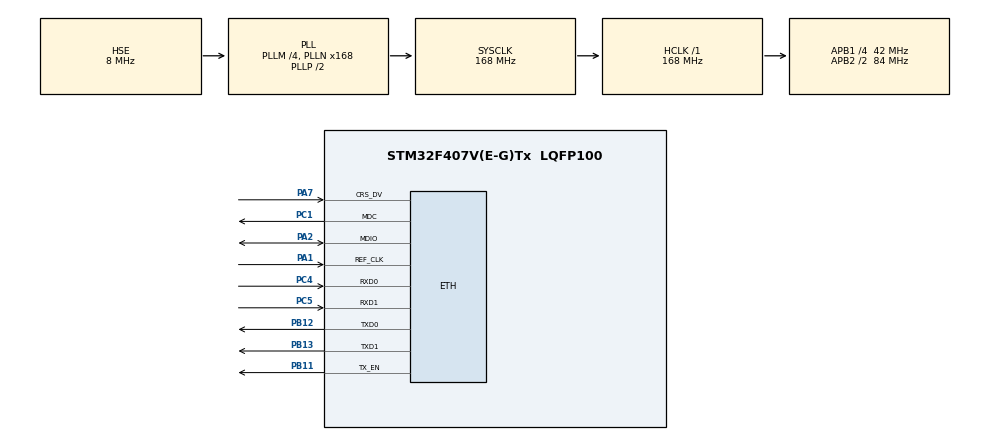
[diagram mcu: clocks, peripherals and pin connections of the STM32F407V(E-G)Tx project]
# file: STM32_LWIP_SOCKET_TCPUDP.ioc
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ETH.MediaInterface=ETH_MEDIA_INTERFACE_RMII
FREERTOS.Tasks01=defaultTask,1,1024,StartDefaultTask,Default,NULL,Dynamic,NULL,NULL
LWIP.IP_ADDRESS=192.168.000.010
LWIP.LWIP_DHCP=0
LWIP.MEM_SIZE=16384
LWIP.NETMASK_ADDRESS=255.255.255.000
LWIP.Version=v2.1.2_Cube
Mcu.Family=STM32F4
Mcu.Name=STM32F407V(E-G)Tx
Mcu.Package=LQFP100
NVIC.ETH_IRQn=true\:5\:0\:false\:false\:true\:true\:false\:true
NVIC.PriorityGroup=NVIC_PRIORITYGROUP_4
NVIC.TIM1_UP_TIM10_IRQn=true\:0\:0\:false\:false\:true\:false\:false\:true
NVIC.TimeBase=TIM1_UP_TIM10_IRQn
NVIC.TimeBaseIP=TIM1
PA1.Mode=RMII
PA1.Signal=ETH_REF_CLK
PA2.Mode=RMII
PA2.Signal=ETH_MDIO
PA7.Mode=RMII
PA7.Signal=ETH_CRS_DV
PB11.Mode=RMII
PB11.Signal=ETH_TX_EN
PB12.Mode=RMII
PB12.Signal=ETH_TXD0
PB13.Mode=RMII
PB13.Signal=ETH_TXD1
PC1.Mode=RMII
PC1.Signal=ETH_MDC
PC4.Mode=RMII
PC4.Signal=ETH_RXD0
PC5.Mode=RMII
PC5.Signal=ETH_RXD1
PH0-OSC_IN.Mode=HSE-External-Oscillator
PH0-OSC_IN.Signal=RCC_OSC_IN
PH1-OSC_OUT.Mode=HSE-External-Oscillator
PH1-OSC_OUT.Signal=RCC_OSC_OUT
ProjectManager.HeapSize=0x200
ProjectManager.StackSize=0x400
ProjectManager.TargetToolchain=STM32CubeIDE
RCC.48MHZClocksFreq_Value=84000000
RCC.AHBFreq_Value=168000000
RCC.APB1CLKDivider=RCC_HCLK_DIV4
RCC.APB1Freq_Value=42000000
RCC.APB1TimFreq_Value=84000000
RCC.APB2CLKDivider=RCC_HCLK_DIV2
RCC.APB2Freq_Value=84000000
RCC.APB2TimFreq_Value=168000000
RCC.CortexFreq_Value=168000000
RCC.HCLKFreq_Value=168000000
RCC.HSE_VALUE=8000000
RCC.HSI_VALUE=16000000
RCC.LSE_VALUE=32768
RCC.PLLM=4
RCC.PLLN=168
RCC.PLLSourceVirtual=RCC_PLLSOURCE_HSE
RCC.SYSCLKFreq_VALUE=168000000
RCC.SYSCLKSource=RCC_SYSCLKSOURCE_PLLCLK
RCC.VCOOutputFreq_Value=336000000
VP_FREERTOS_VS_CMSIS_V1.Mode=CMSIS_V1
VP_LWIP_VS_Enabled.Mode=Enabled
VP_SYS_VS_tim1.Mode=TIM1
board=custom

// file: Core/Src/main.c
/* USER CODE BEGIN Header */
/**
  ******************************************************************************
  * @file           : main.c
  * @brief          : Main program body
  ******************************************************************************
  * @attention
  *
  * <h2><center>&copy; Copyright (c) 2021 STMicroelectronics.
  * All rights reserved.</center></h2>
  *
  * This software component is licensed by ST under BSD 3-Clause license,
  * the "License"; You may not use this file except in compliance with the
  * License. You may obtain a copy of the License at:
  *                        opensource.org/licenses/BSD-3-Clause
  *
  ******************************************************************************
  */
/* USER CODE END Header */
#include "main.h"
#include "cmsis_os.h"
#include "lwip.h"

/* USER CODE BEGIN Includes */
#include "lwip/sys.h"
#include "lwip/sockets.h"

/* USER CODE END Includes */

osThreadId defaultTaskHandle;

void SystemClock_Config(void);
static void MX_GPIO_Init(void);
void StartDefaultTask(void const * argument);

int main(void)
{

  /* MCU Configuration--------------------------------------------------------*/

  /* Reset of all peripherals, Initializes the Flash interface and the Systick. */
  HAL_Init();

  /* Configure the system clock */
  SystemClock_Config();

  /* Initialize all configured peripherals */
  MX_GPIO_Init();

  /* Create the thread(s) */
  /* definition and creation of defaultTask */
  osThreadDef(defaultTask, StartDefaultTask, osPriorityAboveNormal, 0, 1024);
  defaultTaskHandle = osThreadCreate(osThread(defaultTask), NULL);

  /* Start scheduler */
  osKernelStart();

  /* We should never get here as control is now taken by the scheduler */
  /* Infinite loop */
  while (1)
  {

  }
}

void SystemClock_Config(void)
{
  RCC_OscInitTypeDef RCC_OscInitStruct = {0};
  RCC_ClkInitTypeDef RCC_ClkInitStruct = {0};

  /** Configure the main internal regulator output voltage
  */
  __HAL_RCC_PWR_CLK_ENABLE();
  __HAL_PWR_VOLTAGESCALING_CONFIG(PWR_REGULATOR_VOLTAGE_SCALE1);
  /** Initializes the RCC Oscillators according to the specified parameters
  * in the RCC_OscInitTypeDef structure.
  */
  RCC_OscInitStruct.OscillatorType = RCC_OSCILLATORTYPE_HSE;
  RCC_OscInitStruct.HSEState = RCC_HSE_ON;
  RCC_OscInitStruct.PLL.PLLState = RCC_PLL_ON;
  RCC_OscInitStruct.PLL.PLLSource = RCC_PLLSOURCE_HSE;
  RCC_OscInitStruct.PLL.PLLM = 4;
  RCC_OscInitStruct.PLL.PLLN = 168;
  RCC_OscInitStruct.PLL.PLLP = RCC_PLLP_DIV2;
  RCC_OscInitStruct.PLL.PLLQ = 4;
  if (HAL_RCC_OscConfig(&RCC_OscInitStruct) != HAL_OK)
  {
    Error_Handler();
  }
  /** Initializes the CPU, AHB and APB buses clocks
  */
  RCC_ClkInitStruct.ClockType = RCC_CLOCKTYPE_HCLK|RCC_CLOCKTYPE_SYSCLK
                              |RCC_CLOCKTYPE_PCLK1|RCC_CLOCKTYPE_PCLK2;
  RCC_ClkInitStruct.SYSCLKSource = RCC_SYSCLKSOURCE_PLLCLK;
  RCC_ClkInitStruct.AHBCLKDivider = RCC_SYSCLK_DIV1;
  RCC_ClkInitStruct.APB1CLKDivider = RCC_HCLK_DIV4;
  RCC_ClkInitStruct.APB2CLKDivider = RCC_HCLK_DIV2;

  if (HAL_RCC_ClockConfig(&RCC_ClkInitStruct, FLASH_LATENCY_5) != HAL_OK)
  {
    Error_Handler();
  }
}

static void MX_GPIO_Init(void)
{

  /* GPIO Ports Clock Enable */
  __HAL_RCC_GPIOH_CLK_ENABLE();
  __HAL_RCC_GPIOC_CLK_ENABLE();
  __HAL_RCC_GPIOA_CLK_ENABLE();
  __HAL_RCC_GPIOB_CLK_ENABLE();

}

/* USER CODE BEGIN 4 */
void udp_client_task()
{
	char payload[] = "Message from STM32\r\n";

    while (1) {

        struct sockaddr_in dest_addr;
        dest_addr.sin_addr.s_addr = inet_addr("192.168.0.100");
        dest_addr.sin_family = AF_INET;
        dest_addr.sin_port = htons(5555);

        int sock = socket(AF_INET, SOCK_DGRAM, IPPROTO_IP);
        if (sock < 0) {
            break;
        }

        while (1) {

            int err = sendto(sock, payload, strlen(payload), 0, (struct sockaddr *)&dest_addr, sizeof(dest_addr));
            if (err < 0) {
                break;
            }

            osDelay(1000);
        }

        close(sock);
    }

}

void tcp_client_task()
{
	char payload[] = "Message from STM32\r\n";

    while (1) {

        struct sockaddr_in dest_addr;
        dest_addr.sin_addr.s_addr = inet_addr("192.168.0.100");
        dest_addr.sin_family = AF_INET;
        dest_addr.sin_port = htons(5000);

        int sock =  socket(AF_INET, SOCK_STREAM, IPPROTO_IP);
        if (sock < 0) {

            break;
        }

        int err = connect(sock, (struct sockaddr *)&dest_addr, sizeof(struct sockaddr_in));
        if (err != 0) {
        	osDelay(1000);
            continue;
        }

        while (1) {
            int err = send(sock, payload, strlen(payload), 0);
            if (err < 0) {

                break;
            }

            osDelay(1000);
        }

        close(sock);
    }

}
/* USER CODE END 4 */

void StartDefaultTask(void const * argument)
{
  /* init code for LWIP */
  MX_LWIP_Init();
  /* USER CODE BEGIN 5 */
  tcp_client_task();
  /* Infinite loop */
  for(;;)
  {
    osDelay(1);
  }
  /* USER CODE END 5 */
}

 /**
  * @brief  Period elapsed callback in non blocking mode
  * @note   This function is called  when TIM1 interrupt took place, inside
  * HAL_TIM_IRQHandler(). It makes a direct call to HAL_IncTick() to increment
  * a global variable "uwTick" used as application time base.
  * @param  htim : TIM handle
  * @retval None
  */
void HAL_TIM_PeriodElapsedCallback(TIM_HandleTypeDef *htim)
{
  if (htim->Instance == TIM1) {
    HAL_IncTick();
  }
}

void Error_Handler(void)
{
  __disable_irq();
  while (1)
  {
  }
}

/************************ (C) COPYRIGHT STMicroelectronics *****END OF FILE****/
